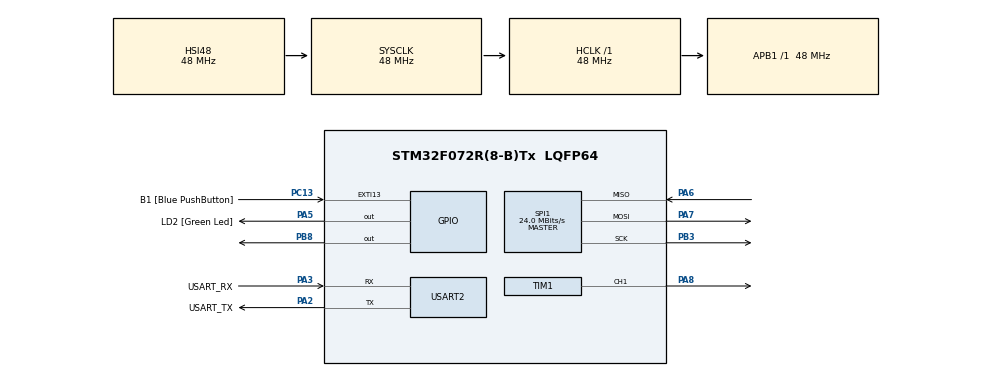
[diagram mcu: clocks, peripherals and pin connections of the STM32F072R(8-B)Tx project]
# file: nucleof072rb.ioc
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Mcu.Family=STM32F0
Mcu.Name=STM32F072R(8-B)Tx
Mcu.Package=LQFP64
PA13.GPIO_Label=TMS
PA13.Mode=Serial_Wire
PA13.Signal=SYS_SWDIO
PA14.GPIO_Label=TCK
PA14.Mode=Serial_Wire
PA14.Signal=SYS_SWCLK
PA2.GPIO_Label=USART_TX
PA2.GPIO_Mode=GPIO_MODE_AF_PP
PA2.GPIO_PuPd=GPIO_NOPULL
PA2.GPIO_Speed=GPIO_SPEED_FREQ_LOW
PA2.Mode=Asynchronous
PA2.Signal=USART2_TX
PA3.GPIO_Label=USART_RX
PA3.GPIO_Mode=GPIO_MODE_AF_PP
PA3.GPIO_PuPd=GPIO_NOPULL
PA3.GPIO_Speed=GPIO_SPEED_FREQ_LOW
PA3.Mode=Asynchronous
PA3.Signal=USART2_RX
PA5.GPIO_Label=LD2 [Green Led]
PA5.GPIO_Mode=GPIO_MODE_OUTPUT_PP
PA5.GPIO_PuPd=GPIO_NOPULL
PA5.GPIO_Speed=GPIO_SPEED_FREQ_LOW
PA5.Signal=GPIO_Output
PA6.Mode=Full_Duplex_Master
PA6.Signal=SPI1_MISO
PA7.Mode=Full_Duplex_Master
PA7.Signal=SPI1_MOSI
PA8.Signal=S_TIM1_CH1
PB3.Mode=Full_Duplex_Master
PB3.Signal=SPI1_SCK
PB8.Signal=GPIO_Output
PC13.GPIO_Label=B1 [Blue PushButton]
PC13.GPIO_ModeDefaultEXTI=GPIO_MODE_IT_FALLING
PC13.Signal=GPXTI13
PC14-OSC32_IN.Mode=LSE-External-Oscillator
PC14-OSC32_IN.Signal=RCC_OSC32_IN
PC15-OSC32_OUT.Mode=LSE-External-Oscillator
PC15-OSC32_OUT.Signal=RCC_OSC32_OUT
PF0-OSC_IN.Mode=HSE-External-Clock-Source
PF0-OSC_IN.Signal=RCC_OSC_IN
PF1-OSC_OUT.Signal=RCC_OSC_OUT
ProjectManager.HeapSize=0x200
ProjectManager.StackSize=0x400
ProjectManager.TargetToolchain=STM32CubeIDE
RCC.AHBFreq_Value=48000000
RCC.APB1Freq_Value=48000000
RCC.APB1TimFreq_Value=48000000
RCC.FLatency-AdvancedSettings=FLASH_LATENCY_1
RCC.HCLKFreq_Value=48000000
RCC.PLLDivider=RCC_PREDIV_DIV2
RCC.PLLMUL=RCC_PLL_MUL12
RCC.PREFETCH_ENABLE-AdvancedSettings=1
RCC.SYSCLKFreq_VALUE=48000000
RCC.SYSCLKSource=RCC_SYSCLKSOURCE_HSI48
SH.S_TIM1_CH1.0=TIM1_CH1,PWM Generation1 CH1
SPI1.BaudRatePrescaler=SPI_BAUDRATEPRESCALER_2
SPI1.CalculateBaudRate=24.0 MBits/s
SPI1.Direction=SPI_DIRECTION_2LINES
SPI1.Mode=SPI_MODE_MASTER
SPI1.VirtualType=VM_MASTER
TIM1.AutoReloadPreload=TIM_AUTORELOAD_PRELOAD_ENABLE
TIM1.Channel-PWM\ Generation1\ CH1=TIM_CHANNEL_1
TIM1.Period=19999
TIM1.Prescaler=47
USART2.VirtualMode=VM_ASYNC
USART2.VirtualMode-Asynchronous=VM_ASYNC
board=NUCLEO-F072RB

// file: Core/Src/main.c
/* USER CODE BEGIN Header */
/**
 ******************************************************************************
 * @file           : main.c
 * @brief          : Main program body
 ******************************************************************************
 * @attention
 *
 * <h2><center>&copy; Copyright (c) 2021 STMicroelectronics.
 * All rights reserved.</center></h2>
 *
 * This software component is licensed by ST under BSD 3-Clause license,
 * the "License"; You may not use this file except in compliance with the
 * License. You may obtain a copy of the License at:
 *                        opensource.org/licenses/BSD-3-Clause
 *
 ******************************************************************************
 */
/* USER CODE END Header */
#include "main.h"
#include "spi.h"
#include "tim.h"
#include "usart.h"
#include "gpio.h"

/* USER CODE BEGIN PV */
uint16_t adc_value = 0;
uint16_t pwm_value = 0;
/* USER CODE END PV */

void SystemClock_Config(void);

/* USER CODE BEGIN 0 */
uint16_t read_adc();
uint16_t adc_to_pwm(uint16_t adc_value);
/* USER CODE END 0 */

int main(void)
{

  /* MCU Configuration--------------------------------------------------------*/

  /* Reset of all peripherals, Initializes the Flash interface and the Systick. */
  HAL_Init();

  /* Configure the system clock */
  SystemClock_Config();

  /* Initialize all configured peripherals */
  MX_GPIO_Init();
  MX_USART2_UART_Init();
  MX_SPI1_Init();
  MX_TIM1_Init();
  /* USER CODE BEGIN 2 */
	HAL_TIM_PWM_Start(&htim1, TIM_CHANNEL_1);
  /* USER CODE END 2 */

  /* Infinite loop */
  /* USER CODE BEGIN WHILE */
	while (1) {

		// calls function to read voltage from pot
		adc_value = read_adc();

		// converts raw adc to pwm count
		pwm_value = adc_to_pwm(adc_value);

		// changes pwm duty cycle
	    __HAL_TIM_SET_COMPARE(&htim1, TIM_CHANNEL_1, pwm_value);

		HAL_Delay(10);
    /* USER CODE END WHILE */

}

void SystemClock_Config(void)
{
  RCC_OscInitTypeDef RCC_OscInitStruct = {0};
  RCC_ClkInitTypeDef RCC_ClkInitStruct = {0};
  RCC_PeriphCLKInitTypeDef PeriphClkInit = {0};

  /** Initializes the RCC Oscillators according to the specified parameters
  * in the RCC_OscInitTypeDef structure.
  */
  RCC_OscInitStruct.OscillatorType = RCC_OSCILLATORTYPE_HSI48;
  RCC_OscInitStruct.HSI48State = RCC_HSI48_ON;
  RCC_OscInitStruct.PLL.PLLState = RCC_PLL_NONE;
  if (HAL_RCC_OscConfig(&RCC_OscInitStruct) != HAL_OK)
  {
    Error_Handler();
  }

  /** Initializes the CPU, AHB and APB buses clocks
  */
  RCC_ClkInitStruct.ClockType = RCC_CLOCKTYPE_HCLK|RCC_CLOCKTYPE_SYSCLK
                              |RCC_CLOCKTYPE_PCLK1;
  RCC_ClkInitStruct.SYSCLKSource = RCC_SYSCLKSOURCE_HSI48;
  RCC_ClkInitStruct.AHBCLKDivider = RCC_SYSCLK_DIV1;
  RCC_ClkInitStruct.APB1CLKDivider = RCC_HCLK_DIV1;

  if (HAL_RCC_ClockConfig(&RCC_ClkInitStruct, FLASH_LATENCY_1) != HAL_OK)
  {
    Error_Handler();
  }
  PeriphClkInit.PeriphClockSelection = RCC_PERIPHCLK_USART2;
  PeriphClkInit.Usart2ClockSelection = RCC_USART2CLKSOURCE_PCLK1;
  if (HAL_RCCEx_PeriphCLKConfig(&PeriphClkInit) != HAL_OK)
  {
    Error_Handler();
  }
}

/* USER CODE BEGIN 4 */

uint16_t read_adc() {
	// 3 bytes send/receive
	uint8_t transmit_data[3] = { 0x01, 0x08, 0x00 };
	uint8_t receive_data[3] = { 0 };

	// Select ADC
	HAL_GPIO_WritePin(GPIOB, GPIO_PIN_8, GPIO_PIN_RESET);

	// Transmit and receive 3 bytes
	HAL_SPI_TransmitReceive(&hspi1, transmit_data, receive_data, 3,
			HAL_MAX_DELAY);

	// Deselect ADC
	HAL_GPIO_WritePin(GPIOB, GPIO_PIN_8, GPIO_PIN_SET);

	// Combine received bytes into 10-bit value
	uint16_t value = 0;
	value = ((receive_data[1] & 0x03) << 8);
	value = value | receive_data[2];
	return value;
}

uint16_t adc_to_pwm(uint16_t adc_value) {
	uint32_t min_count = 3200;
	uint32_t max_count = 6400;
	uint32_t pwm_value = min_count + ((uint32_t) adc_value * (max_count - min_count)) / 1023;
	return pwm_value;

}

/* USER CODE END 4 */

void Error_Handler(void)
{
__disable_irq();
while (1) {
}
}
